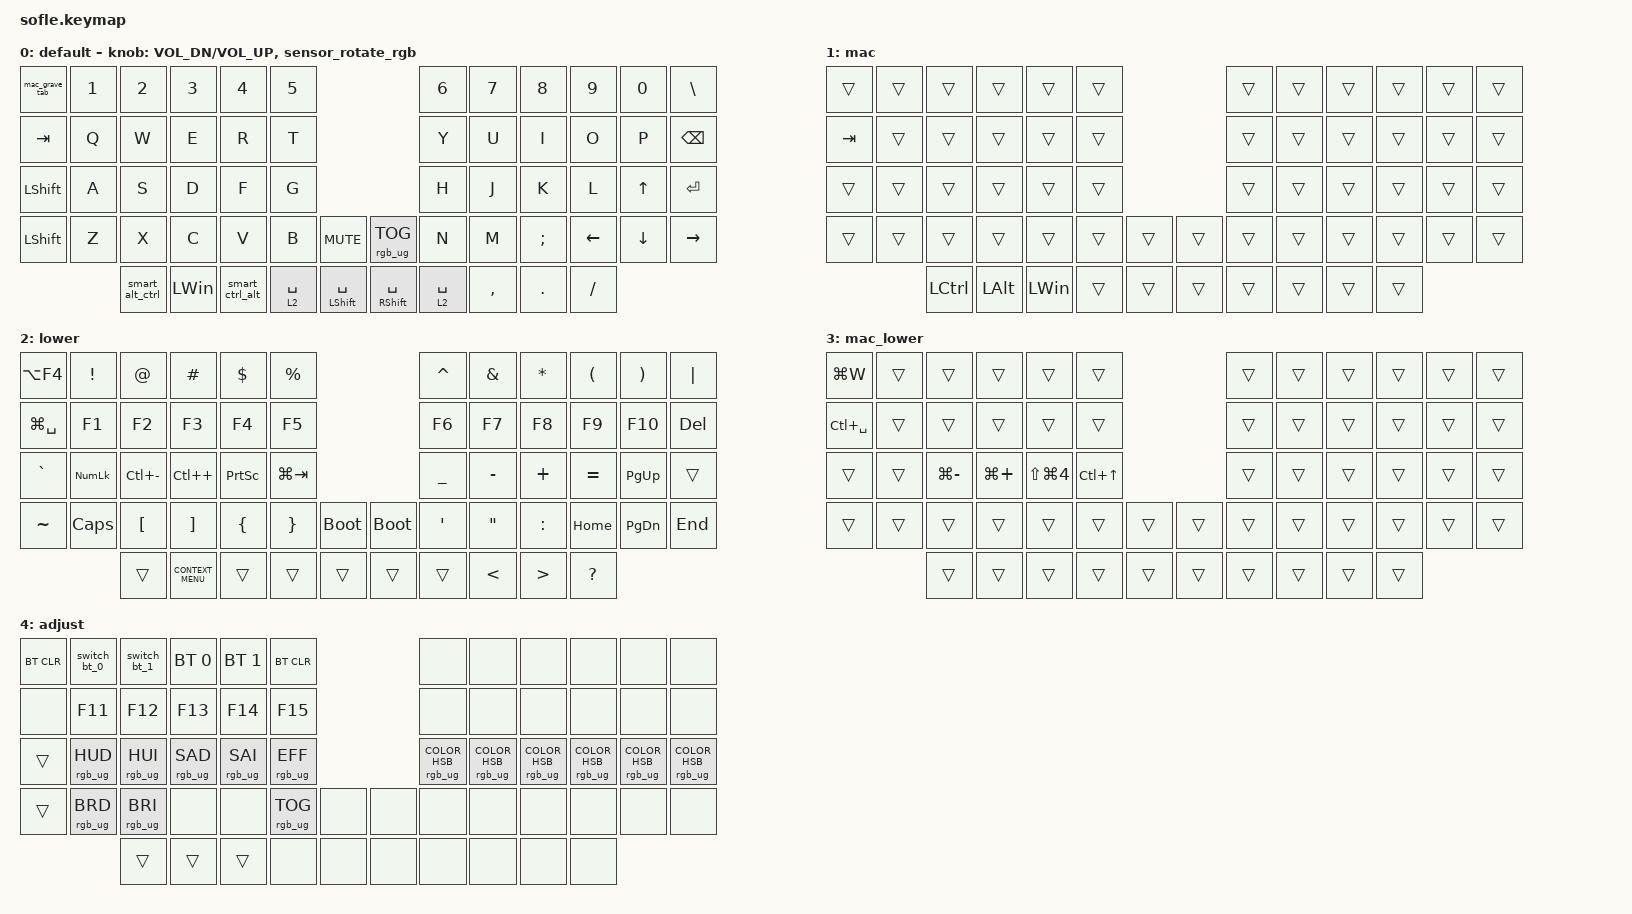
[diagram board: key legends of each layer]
/*
 * Copyright (c) 2020 The ZMK Contributors
 *
 * SPDX-License-Identifier: MIT
 */

#include "../dts/behaviors/bt_morph.dtsi"
#include "../dts/behaviors/smart_ctrl_alt.dtsi"
#include "../dts/behaviors/smart_alt_ctrl.dtsi"
#include <behaviors.dtsi>
#include <dt-bindings/zmk/bt.h>
#include <dt-bindings/zmk/keys.h>
#include <dt-bindings/zmk/rgb.h>

#define BASE 0
#define LOWER 1
#define RAISE 2
#define ADJUST 3

/ {
    // Activate ADJUST layer by pressing raise and lower

    conditional_layers {
        compatible = "zmk,conditional-layers";

        mac_lower {
            if-layers = <1 2>;
            then-layer = <3>;
        };
    };

    behaviors {
        sensor_rotate_rgb: sensor_rotate_rgb {
            compatible = "zmk,behavior-sensor-rotate";
            #sensor-binding-cells = <0>;
            bindings = <&rgb_ug RGB_HUD>, <&rgb_ug RGB_HUI>;
        };

        mac_grave_tab: mac_grave_tab {
            compatible = "zmk,behavior-mod-morph";
            bindings = <&kp ESCAPE>, <&kp GRAVE>;

            #binding-cells = <0>;
            mods = <(MOD_LGUI)>;
            keep-mods = <(MOD_LGUI)>;
        };
    };

    combos { compatible = "zmk,combos"; };

    macros {
        switch_bt_1: switch_input {
            compatible = "zmk,behavior-macro";
            #binding-cells = <0>;
            bindings = <&kp LS(F13) &bt BT_SEL 1>;
            label = "SWITCH_INPUT";
        };

        switch_bt_0: switch_bt_0 {
            compatible = "zmk,behavior-macro";
            #binding-cells = <0>;
            bindings = <&kp LS(F13) &bt BT_SEL 0>;
            label = "SWITCH_BT_0";
        };
    };

    keymap {
        compatible = "zmk,keymap";

        default_layer {
            label = "default";

            // ------------------------------------------------------------------------------------------------------------
            // |   `   |  1  |  2  |  3   |  4   |  5   |                   |  6   |  7    |  8    |  9   |   0   |       |
            // |  ESC  |  Q  |  W  |  E   |  R   |  T   |                   |  Y   |  U    |  I    |  O   |   P   | BKSPC |
            // |  TAB  |  A  |  S  |  D   |  F   |  G   |                   |  H   |  J    |  K    |  L   |   ;   |   '   |
            // | SHIFT |  Z  |  X  |  C   |  V   |  B   |  MUTE  |  |       |  N   |  M    |  ,    |  .   |   /   | SHIFT |
            //               | GUI | ALT  | CTRL | LOWER|  ENTER |  | SPACE | RAISE| CTRL  | ALT   | GUI  |

            bindings = <
&mac_grave_tab  &kp N1  &kp N2           &kp N3        &kp N4           &kp N5                                                      &kp N6       &kp N7     &kp N8         &kp N9          &kp N0          &kp BACKSLASH
&kp TAB         &kp Q   &kp W            &kp E         &kp R            &kp T                                                       &kp Y        &kp U      &kp I          &kp O           &kp P           &kp BACKSPACE
&kp LSHIFT      &kp A   &kp S            &kp D         &kp F            &kp G                                                       &kp H        &kp J      &kp K          &kp L           &kp UP_ARROW    &kp ENTER
&kp LEFT_SHIFT  &kp Z   &kp X            &kp C         &kp V            &kp B        &kp C_MUTE              &rgb_ug RGB_TOG        &kp N        &kp M      &kp SEMICOLON  &kp LEFT_ARROW  &kp DOWN_ARROW  &kp RIGHT_ARROW
                        &smart_alt_ctrl  &kp LEFT_WIN  &smart_ctrl_alt  &lt 2 SPACE  &mt LEFT_SHIFT SPACE    &mt RIGHT_SHIFT SPACE  &lt 2 SPACE  &kp COMMA  &kp PERIOD     &kp SLASH
            >;

            sensor-bindings =
                <&inc_dec_kp C_VOL_DN C_VOL_UP>,
                <&sensor_rotate_rgb>;
        };

        mac_layer {
            bindings = <
&trans   &trans  &trans            &trans        &trans        &trans                    &trans  &trans  &trans  &trans  &trans  &trans
&kp TAB  &trans  &trans            &trans        &trans        &trans                    &trans  &trans  &trans  &trans  &trans  &trans
&trans   &trans  &trans            &trans        &trans        &trans                    &trans  &trans  &trans  &trans  &trans  &trans
&trans   &trans  &trans            &trans        &trans        &trans  &trans    &trans  &trans  &trans  &trans  &trans  &trans  &trans
                 &kp LEFT_CONTROL  &kp LEFT_ALT  &kp LEFT_WIN  &trans  &trans    &trans  &trans  &trans  &trans  &trans
            >;

            label = "mac";
        };

        lower_layer {
            label = "lower";

            // TODO: Some binds are waiting for shifted keycode support.
            // ------------------------------------------------------------------------------------------------------------
            // |       |  F1 |  F2 |  F3  |  F4  |  F5  |                   |  F6  |  F7   |  F8   |  F9  |  F10  |  F11  |
            // |   `   |  1  |  2  |  3   |  4   |  5   |                   |  6   |  7    |  8    |  9   |   0   |  F12  |
            // |       |  !  |  @  |  #   |  $   |  %   |                   |  ^   |  &    |  *    |  (   |   )   |   |   |
            // |       |  =  |  -  |  +   |  {   |  }   |        |  |       |  [   |  ]    |  ;    |  :   |   \   |       |
            //               |     |      |      |      |        |  |       |      |       |       |      |

            bindings = <
&kp LA(F4)     &kp EXCLAMATION  &kp AT_SIGN       &kp HASH            &kp DOLLAR       &kp PERCENT                                  &kp CARET         &kp AMPERSAND      &kp ASTERISK      &kp LEFT_PARENTHESIS  &kp RIGHT_PARENTHESIS  &kp PIPE
&kp LG(SPACE)  &kp F1           &kp F2            &kp F3              &kp F4           &kp F5                                       &kp F6            &kp F7             &kp F8            &kp F9                &kp F10                &kp DELETE
&kp GRAVE      &kp KP_NUMLOCK   &kp LC(MINUS)     &kp LC(PLUS)        &kp PRINTSCREEN  &kp LG(TAB)                                  &kp UNDERSCORE    &kp MINUS          &kp PLUS          &kp EQUAL             &kp PAGE_UP            &trans
&kp TILDE      &kp CAPSLOCK     &kp LEFT_BRACKET  &kp RIGHT_BRACKET   &kp LEFT_BRACE   &kp RIGHT_BRACE  &bootloader    &bootloader  &kp SINGLE_QUOTE  &kp DOUBLE_QUOTES  &kp COLON         &kp HOME              &kp PAGE_DOWN          &kp END
                                &trans            &kp K_CONTEXT_MENU  &trans           &trans           &trans         &trans       &trans            &kp LESS_THAN      &kp GREATER_THAN  &kp QUESTION
            >;
        };

        mac_lower_layer {
            bindings = <
&kp LG(W)      &trans  &trans         &trans        &trans                &trans                              &trans  &trans  &trans  &trans  &trans  &trans
&kp LC(SPACE)  &trans  &trans         &trans        &trans                &trans                              &trans  &trans  &trans  &trans  &trans  &trans
&trans         &trans  &kp LG(MINUS)  &kp LG(PLUS)  &kp LS(LG(NUMBER_4))  &kp LC(UP_ARROW)                    &trans  &trans  &trans  &trans  &trans  &trans
&trans         &trans  &trans         &trans        &trans                &trans            &trans    &trans  &trans  &trans  &trans  &trans  &trans  &trans
                       &trans         &trans        &trans                &trans            &trans    &trans  &trans  &trans  &trans  &trans
            >;

            label = "mac_lower";
        };

        adjust_layer {
            // ----------------------------------------------------------------------------------------------------------------------------
            // | BTCLR  |  BT1    |  BT2    |   BT3   |   BT4   |   BT5   |                  |      |      |       |      |       |       |
            // | EXTPWR | RGB_HUD | RGB_HUI | RGB_SAD | RGB_SAI | RGB_EFF |                  |      |      |       |      |       |       |
            // |        | RGB_BRD | RGB_BRI |         |         |         |                  |      |      |       |      |       |       |
            // |        |         |         |         |         |         | RGB_TOG | |      |      |      |       |      |       |       |
            //                    |         |         |         |         |         | |      |      |      |       |      |

            label = "adjust";
            bindings = <
&bt BT_CLR  &switch_bt_0     &switch_bt_1     &bt BT_SEL 0     &bt BT_SEL 1     &bt BT_CLR                       &none                               &none                               &none                               &none                               &none                             &none
&none       &kp F11          &kp F12          &kp F13          &kp F14          &kp F15                          &none                               &none                               &none                               &none                               &none                             &none
&trans      &rgb_ug RGB_HUD  &rgb_ug RGB_HUI  &rgb_ug RGB_SAD  &rgb_ug RGB_SAI  &rgb_ug RGB_EFF                  &rgb_ug RGB_COLOR_HSB(350,100,100)  &rgb_ug RGB_COLOR_HSB(180,100,100)  &rgb_ug RGB_COLOR_HSB(130,100,100)  &rgb_ug RGB_COLOR_HSB(110,100,100)  &rgb_ug RGB_COLOR_HSB(0,100,100)  &rgb_ug RGB_COLOR_HSB(140,20,100)
&trans      &rgb_ug RGB_BRD  &rgb_ug RGB_BRI  &none            &none            &rgb_ug RGB_TOG  &none    &none  &none                               &none                               &none                               &none                               &none                             &none
                             &trans           &trans           &trans           &none            &none    &none  &none                               &none                               &none                               &none
            >;
        };
    };
};
